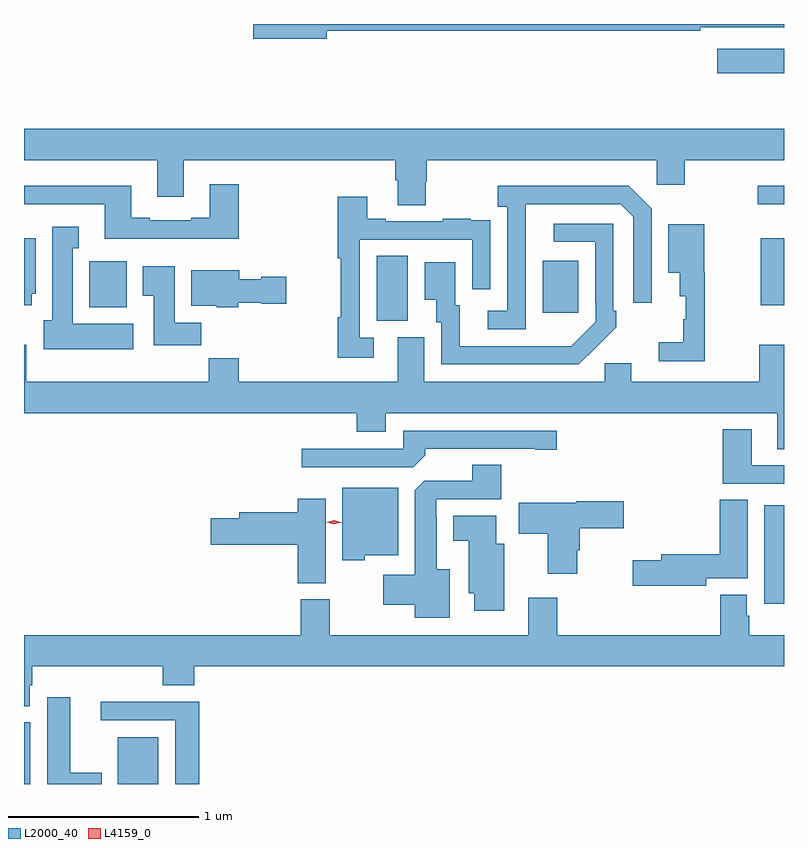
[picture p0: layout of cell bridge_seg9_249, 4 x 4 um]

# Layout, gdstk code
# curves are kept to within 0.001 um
import gdstk
lib = gdstk.Library(unit=1e-6, precision=1e-09)
def R(c, l, rs):  # rectangles x0, y0, x1, y1
    for r in rs: c.add(gdstk.rectangle(r[:2], r[2:], *l))
def P(c, l, *ps):  # polygons
    for p in ps: c.add(gdstk.Polygon(p, *l))
L2000_40 = (2000, 40)
L4159_0 = (4159, 0)

bridge_seg9_249 = lib.new_cell('bridge_seg9_249')
R(bridge_seg9_249, L2000_40, [(275.574,1195.8,275.608,1196.124), (276.068,1195.8,276.28,1196.047), (279.47,1196.748,279.574,1197.268), (277.43,1198.237,277.594,1198.58), (278.303,1198.281,278.491,1198.555), (275.918,1198.31,276.115,1198.552), (279.452,1198.32,279.574,1198.672), (279.435,1198.851,279.574,1198.948), (279.222,1199.542,279.574,1199.671)])
P(bridge_seg9_249, L2000_40, [(277.168,1199.764),(279.134,1199.764),(279.134,1199.784),(279.574,1199.784),(279.574,1199.8),(276.78,1199.8),(276.78,1199.722),(277.168,1199.722)],
  [(277.689,1198.971),(277.694,1198.971),(277.694,1199.084),(278.904,1199.084),(278.904,1198.953),(279.051,1198.953),(279.051,1199.084),(279.574,1199.084),(279.574,1199.248),(275.574,1199.248),(275.574,1199.084),(276.275,1199.084),(276.275,1198.89),(276.415,1198.89),(276.415,1199.084),(277.529,1199.084),(277.529,1198.978),(277.541,1198.978),(277.541,1198.846),(277.689,1198.846)],
  [(276.704,1198.957),(276.551,1198.957),(276.551,1198.78),(276.455,1198.78),(276.455,1198.767),(276.235,1198.767),(276.235,1198.78),(276.139,1198.78),(276.139,1198.948),(275.574,1198.948),(275.574,1198.851),(275.999,1198.851),(275.999,1198.67),(276.704,1198.67)],
  [(278.214,1198.651),(278.215,1198.851),(278.715,1198.851),(278.781,1198.785),(278.781,1198.332),(278.877,1198.332),(278.877,1198.827),(278.756,1198.948),(278.067,1198.948),(278.067,1198.838),(278.118,1198.838),(278.118,1198.29),(278.016,1198.29),(278.016,1198.194),(278.214,1198.194)],
  [(277.414,1198.149),(277.341,1198.149),(277.341,1198.665),(277.932,1198.665),(277.932,1198.404),(278.028,1198.404),(278.028,1198.658),(278.027,1198.658),(278.027,1198.767),(277.925,1198.767),(277.925,1198.774),(277.777,1198.774),(277.777,1198.761),(277.477,1198.761),(277.477,1198.774),(277.381,1198.774),(277.381,1198.891),(277.225,1198.891),(277.225,1198.568),(277.24,1198.568),(277.24,1198.256),(277.225,1198.256),(277.225,1198.044),(277.414,1198.044)],
  [(278.585,1198.099),(278.586,1198.098),(278.691,1198.203),(278.691,1198.291),(278.676,1198.291),(278.676,1198.749),(278.361,1198.749),(278.361,1198.653),(278.58,1198.653),(278.58,1198.333),(278.583,1198.333),(278.583,1198.233),(278.455,1198.105),(277.867,1198.104),(277.867,1198.32),(277.843,1198.32),(277.843,1198.546),(277.682,1198.546),(277.682,1198.349),(277.745,1198.349),(277.745,1198.23),(277.77,1198.23),(277.77,1198.008),(278.494,1198.008)],
  [(279.158,1198.494),(279.154,1198.494),(279.154,1198.747),(278.966,1198.747),(278.966,1198.49),(279.026,1198.49),(279.026,1198.367),(279.056,1198.367),(279.056,1198.245),(279.045,1198.245),(279.045,1198.125),(278.916,1198.125),(278.916,1198.026),(279.158,1198.026)],
  [(276.148,1198.222),(275.83,1198.222),(275.83,1198.619),(275.863,1198.619),(275.863,1198.732),(275.723,1198.732),(275.723,1198.242),(275.678,1198.242),(275.678,1198.088),(276.148,1198.088)],
  [(275.614,1198.38),(275.635,1198.38),(275.635,1198.672),(275.574,1198.672),(275.574,1198.32),(275.614,1198.32)],
  [(276.506,1198.228),(276.367,1198.228),(276.367,1198.525),(276.2,1198.525),(276.2,1198.369),(276.257,1198.369),(276.257,1198.11),(276.506,1198.11)],
  [(276.702,1198.334),(276.822,1198.334),(276.822,1198.327),(276.955,1198.327),(276.955,1198.469),(276.822,1198.469),(276.822,1198.456),(276.706,1198.456),(276.706,1198.504),(276.455,1198.504),(276.455,1198.316),(276.588,1198.316),(276.588,1198.31),(276.702,1198.31)],
  [(279.574,1198.111),(279.443,1198.111),(279.443,1197.916),(278.77,1197.916),(278.77,1198.014),(278.631,1198.014),(278.631,1197.916),(277.681,1197.916),(277.681,1198.152),(277.541,1198.152),(277.541,1197.916),(276.704,1197.916),(276.704,1198.04),(276.547,1198.04),(276.547,1197.916),(275.587,1197.916),(275.587,1198.111),(275.574,1198.111),(275.574,1197.752),(277.325,1197.752),(277.325,1197.653),(277.477,1197.653),(277.477,1197.752),(279.539,1197.752),(279.539,1197.562),(279.574,1197.562)],
  [(279.574,1197.477),(279.403,1197.477),(279.403,1197.667),(279.251,1197.667),(279.251,1197.381),(279.574,1197.381)],
  [(277.685,1197.53),(277.685,1197.564),(278.264,1197.564),(278.264,1197.559),(278.377,1197.559),(278.377,1197.66),(277.569,1197.66),(277.569,1197.564),(277.035,1197.564),(277.035,1197.468),(277.623,1197.468)],
  [(277.816,1196.929),(277.747,1196.929),(277.747,1197.203),(277.743,1197.203),(277.743,1197.3),(278.087,1197.3),(278.087,1197.479),(277.934,1197.479),(277.934,1197.396),(277.68,1197.396),(277.631,1197.347),(277.631,1196.902),(277.464,1196.902),(277.464,1196.744),(277.631,1196.744),(277.631,1196.675),(277.816,1196.675)],
  [(277.368,1197.005),(277.543,1197.005),(277.543,1197.358),(277.25,1197.358),(277.25,1196.978),(277.368,1196.978)],
  [(277.162,1197.301),(277.016,1197.301),(277.016,1197.23),(276.707,1197.23),(276.707,1197.2),(276.558,1197.2),(276.558,1197.058),(277.016,1197.058),(277.016,1196.857),(277.162,1196.857)],
  [(279.166,1196.882),(279.382,1196.882),(279.382,1197.296),(279.236,1197.296),(279.236,1197.008),(278.927,1197.008),(278.927,1196.978),(278.778,1196.978),(278.778,1196.843),(279.166,1196.843)],
  [(278.485,1197.029),(278.498,1197.029),(278.498,1197.146),(278.731,1197.146),(278.731,1197.288),(278.481,1197.288),(278.481,1197.28),(278.178,1197.28),(278.178,1197.118),(278.33,1197.118),(278.33,1196.907),(278.485,1196.907)],
  [(278.101,1197.064),(278.059,1197.064),(278.059,1197.211),(277.832,1197.211),(277.832,1197.08),(277.916,1197.08),(277.916,1196.805),(277.943,1196.805),(277.943,1196.712),(278.101,1196.712)],
  [(275.605,1196.319),(275.618,1196.319),(275.618,1196.42),(276.305,1196.42),(276.305,1196.321),(276.47,1196.321),(276.47,1196.42),(279.574,1196.42),(279.574,1196.584),(279.392,1196.584),(279.392,1196.685),(279.379,1196.685),(279.379,1196.797),(279.239,1196.797),(279.239,1196.584),(278.381,1196.584),(278.381,1196.779),(278.228,1196.779),(278.228,1196.584),(277.183,1196.584),(277.183,1196.772),(277.031,1196.772),(277.031,1196.584),(275.574,1196.584),(275.574,1196.209),(275.605,1196.209)],
  [(275.983,1195.858),(275.818,1195.858),(275.818,1196.257),(275.696,1196.257),(275.696,1195.8),(275.983,1195.8)],
  [(276.497,1196.234),(275.979,1196.234),(275.979,1196.136),(276.371,1196.136),(276.371,1195.8),(276.497,1195.8)])
P(bridge_seg9_249, L4159_0, [(277.205,1197.168),(277.167,1197.177),(277.167,1197.178),(277.167,1197.178),(277.205,1197.187),(277.243,1197.178),(277.243,1197.177),(277.243,1197.177)])

lib.write_gds('bridge_seg9_249.gds')
